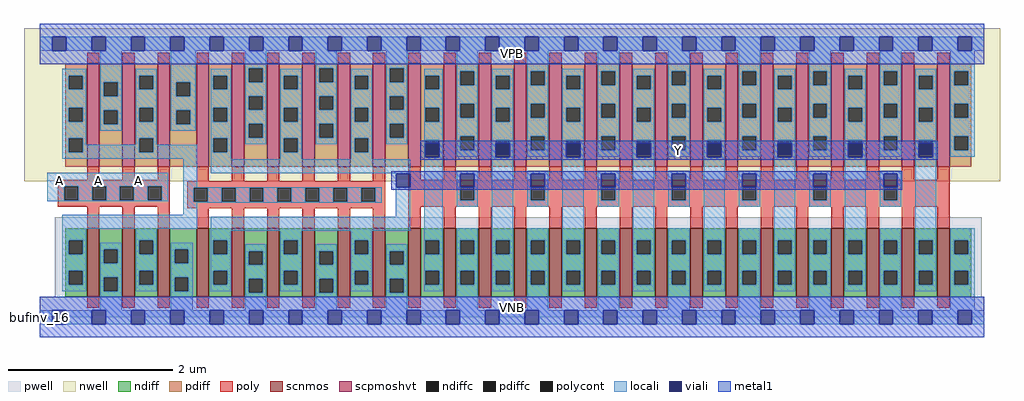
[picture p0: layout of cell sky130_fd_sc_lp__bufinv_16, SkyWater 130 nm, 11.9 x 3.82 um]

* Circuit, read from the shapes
.subckt sky130_fd_sc_lp__bufinv_16 A VGND VNB VPB VPWR Y
XM1 VGND A n1 VNB sky130_fd_pr__nfet_01v8 w=0.84 l=0.15 m=3
XM2 n2 n1 VGND VNB sky130_fd_pr__nfet_01v8 w=0.84 l=0.15 m=6
XM3 Y n2 VGND VNB sky130_fd_pr__nfet_01v8 w=0.84 l=0.15 m=16
XM4 VPWR A n1 VPB sky130_fd_pr__pfet_01v8_hvt w=1.26 l=0.15 m=3
XM5 n2 n1 VPWR VPB sky130_fd_pr__pfet_01v8_hvt w=1.26 l=0.15 m=6
XM6 Y n2 VPWR VPB sky130_fd_pr__pfet_01v8_hvt w=1.26 l=0.15 m=16
.ends

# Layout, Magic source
magic
tech sky130A
magscale 1 2
<< nwell >>
rect -38 331 2342 704
<< pwell >>
rect 37 49 2298 243
rect 0 0 2304 49
<< scnmos >>
rect 116 49 146 217
rect 202 49 232 217
rect 288 49 318 217
rect 383 49 413 217
rect 469 49 499 217
rect 555 49 585 217
rect 641 49 671 217
rect 727 49 757 217
rect 813 49 843 217
rect 899 49 929 217
rect 985 49 1015 217
rect 1071 49 1101 217
rect 1157 49 1187 217
rect 1243 49 1273 217
rect 1329 49 1359 217
rect 1415 49 1445 217
rect 1501 49 1531 217
rect 1587 49 1617 217
rect 1673 49 1703 217
rect 1759 49 1789 217
rect 1845 49 1875 217
rect 1931 49 1961 217
rect 2017 49 2047 217
rect 2103 49 2133 217
rect 2189 49 2219 217
<< scpmoshvt >>
rect 116 367 146 619
rect 202 367 232 619
rect 288 367 318 619
rect 383 367 413 619
rect 469 367 499 619
rect 555 367 585 619
rect 641 367 671 619
rect 727 367 757 619
rect 813 367 843 619
rect 899 367 929 619
rect 985 367 1015 619
rect 1071 367 1101 619
rect 1157 367 1187 619
rect 1243 367 1273 619
rect 1329 367 1359 619
rect 1415 367 1445 619
rect 1501 367 1531 619
rect 1587 367 1617 619
rect 1673 367 1703 619
rect 1759 367 1789 619
rect 1845 367 1875 619
rect 1931 367 1961 619
rect 2017 367 2047 619
rect 2103 367 2133 619
rect 2189 367 2219 619
<< ndiff >>
rect 63 187 116 217
rect 63 153 71 187
rect 105 153 116 187
rect 63 113 116 153
rect 63 79 71 113
rect 105 79 116 113
rect 63 49 116 79
rect 146 165 202 217
rect 146 131 157 165
rect 191 131 202 165
rect 146 97 202 131
rect 146 63 157 97
rect 191 63 202 97
rect 146 49 202 63
rect 232 187 288 217
rect 232 153 243 187
rect 277 153 288 187
rect 232 113 288 153
rect 232 79 243 113
rect 277 79 288 113
rect 232 49 288 79
rect 318 165 383 217
rect 318 131 329 165
rect 363 131 383 165
rect 318 97 383 131
rect 318 63 329 97
rect 363 63 383 97
rect 318 49 383 63
rect 413 187 469 217
rect 413 153 424 187
rect 458 153 469 187
rect 413 113 469 153
rect 413 79 424 113
rect 458 79 469 113
rect 413 49 469 79
rect 499 161 555 217
rect 499 127 510 161
rect 544 127 555 161
rect 499 93 555 127
rect 499 59 510 93
rect 544 59 555 93
rect 499 49 555 59
rect 585 187 641 217
rect 585 153 596 187
rect 630 153 641 187
rect 585 113 641 153
rect 585 79 596 113
rect 630 79 641 113
rect 585 49 641 79
rect 671 161 727 217
rect 671 127 682 161
rect 716 127 727 161
rect 671 93 727 127
rect 671 59 682 93
rect 716 59 727 93
rect 671 49 727 59
rect 757 187 813 217
rect 757 153 768 187
rect 802 153 813 187
rect 757 113 813 153
rect 757 79 768 113
rect 802 79 813 113
rect 757 49 813 79
rect 843 161 899 217
rect 843 127 854 161
rect 888 127 899 161
rect 843 93 899 127
rect 843 59 854 93
rect 888 59 899 93
rect 843 49 899 59
rect 929 187 985 217
rect 929 153 940 187
rect 974 153 985 187
rect 929 113 985 153
rect 929 79 940 113
rect 974 79 985 113
rect 929 49 985 79
rect 1015 187 1071 217
rect 1015 153 1026 187
rect 1060 153 1071 187
rect 1015 113 1071 153
rect 1015 79 1026 113
rect 1060 79 1071 113
rect 1015 49 1071 79
rect 1101 187 1157 217
rect 1101 153 1112 187
rect 1146 153 1157 187
rect 1101 113 1157 153
rect 1101 79 1112 113
rect 1146 79 1157 113
rect 1101 49 1157 79
rect 1187 187 1243 217
rect 1187 153 1198 187
rect 1232 153 1243 187
rect 1187 113 1243 153
rect 1187 79 1198 113
rect 1232 79 1243 113
rect 1187 49 1243 79
rect 1273 187 1329 217
rect 1273 153 1284 187
rect 1318 153 1329 187
rect 1273 113 1329 153
rect 1273 79 1284 113
rect 1318 79 1329 113
rect 1273 49 1329 79
rect 1359 187 1415 217
rect 1359 153 1370 187
rect 1404 153 1415 187
rect 1359 113 1415 153
rect 1359 79 1370 113
rect 1404 79 1415 113
rect 1359 49 1415 79
rect 1445 187 1501 217
rect 1445 153 1456 187
rect 1490 153 1501 187
rect 1445 113 1501 153
rect 1445 79 1456 113
rect 1490 79 1501 113
rect 1445 49 1501 79
rect 1531 187 1587 217
rect 1531 153 1542 187
rect 1576 153 1587 187
rect 1531 113 1587 153
rect 1531 79 1542 113
rect 1576 79 1587 113
rect 1531 49 1587 79
rect 1617 187 1673 217
rect 1617 153 1628 187
rect 1662 153 1673 187
rect 1617 113 1673 153
rect 1617 79 1628 113
rect 1662 79 1673 113
rect 1617 49 1673 79
rect 1703 187 1759 217
rect 1703 153 1714 187
rect 1748 153 1759 187
rect 1703 113 1759 153
rect 1703 79 1714 113
rect 1748 79 1759 113
rect 1703 49 1759 79
rect 1789 187 1845 217
rect 1789 153 1800 187
rect 1834 153 1845 187
rect 1789 113 1845 153
rect 1789 79 1800 113
rect 1834 79 1845 113
rect 1789 49 1845 79
rect 1875 187 1931 217
rect 1875 153 1886 187
rect 1920 153 1931 187
rect 1875 113 1931 153
rect 1875 79 1886 113
rect 1920 79 1931 113
rect 1875 49 1931 79
rect 1961 187 2017 217
rect 1961 153 1972 187
rect 2006 153 2017 187
rect 1961 113 2017 153
rect 1961 79 1972 113
rect 2006 79 2017 113
rect 1961 49 2017 79
rect 2047 187 2103 217
rect 2047 153 2058 187
rect 2092 153 2103 187
rect 2047 113 2103 153
rect 2047 79 2058 113
rect 2092 79 2103 113
rect 2047 49 2103 79
rect 2133 187 2189 217
rect 2133 153 2144 187
rect 2178 153 2189 187
rect 2133 113 2189 153
rect 2133 79 2144 113
rect 2178 79 2189 113
rect 2133 49 2189 79
rect 2219 187 2272 217
rect 2219 153 2230 187
rect 2264 153 2272 187
rect 2219 113 2272 153
rect 2219 79 2230 113
rect 2264 79 2272 113
rect 2219 49 2272 79
<< pdiff >>
rect 63 589 116 619
rect 63 555 71 589
rect 105 555 116 589
rect 63 510 116 555
rect 63 476 71 510
rect 105 476 116 510
rect 63 436 116 476
rect 63 402 71 436
rect 105 402 116 436
rect 63 367 116 402
rect 146 572 202 619
rect 146 538 157 572
rect 191 538 202 572
rect 146 504 202 538
rect 146 470 157 504
rect 191 470 202 504
rect 146 367 202 470
rect 232 589 288 619
rect 232 555 243 589
rect 277 555 288 589
rect 232 510 288 555
rect 232 476 243 510
rect 277 476 288 510
rect 232 436 288 476
rect 232 402 243 436
rect 277 402 288 436
rect 232 367 288 402
rect 318 572 383 619
rect 318 538 333 572
rect 367 538 383 572
rect 318 504 383 538
rect 318 470 333 504
rect 367 470 383 504
rect 318 367 383 470
rect 413 589 469 619
rect 413 555 424 589
rect 458 555 469 589
rect 413 510 469 555
rect 413 476 424 510
rect 458 476 469 510
rect 413 436 469 476
rect 413 402 424 436
rect 458 402 469 436
rect 413 367 469 402
rect 499 607 555 619
rect 499 573 510 607
rect 544 573 555 607
rect 499 539 555 573
rect 499 505 510 539
rect 544 505 555 539
rect 499 471 555 505
rect 499 437 510 471
rect 544 437 555 471
rect 499 367 555 437
rect 585 589 641 619
rect 585 555 596 589
rect 630 555 641 589
rect 585 510 641 555
rect 585 476 596 510
rect 630 476 641 510
rect 585 436 641 476
rect 585 402 596 436
rect 630 402 641 436
rect 585 367 641 402
rect 671 607 727 619
rect 671 573 682 607
rect 716 573 727 607
rect 671 539 727 573
rect 671 505 682 539
rect 716 505 727 539
rect 671 471 727 505
rect 671 437 682 471
rect 716 437 727 471
rect 671 367 727 437
rect 757 589 813 619
rect 757 555 768 589
rect 802 555 813 589
rect 757 510 813 555
rect 757 476 768 510
rect 802 476 813 510
rect 757 436 813 476
rect 757 402 768 436
rect 802 402 813 436
rect 757 367 813 402
rect 843 607 899 619
rect 843 573 854 607
rect 888 573 899 607
rect 843 539 899 573
rect 843 505 854 539
rect 888 505 899 539
rect 843 471 899 505
rect 843 437 854 471
rect 888 437 899 471
rect 843 367 899 437
rect 929 589 985 619
rect 929 555 940 589
rect 974 555 985 589
rect 929 510 985 555
rect 929 476 940 510
rect 974 476 985 510
rect 929 431 985 476
rect 929 397 940 431
rect 974 397 985 431
rect 929 367 985 397
rect 1015 599 1071 619
rect 1015 565 1026 599
rect 1060 565 1071 599
rect 1015 520 1071 565
rect 1015 486 1026 520
rect 1060 486 1071 520
rect 1015 441 1071 486
rect 1015 407 1026 441
rect 1060 407 1071 441
rect 1015 367 1071 407
rect 1101 589 1157 619
rect 1101 555 1112 589
rect 1146 555 1157 589
rect 1101 510 1157 555
rect 1101 476 1112 510
rect 1146 476 1157 510
rect 1101 431 1157 476
rect 1101 397 1112 431
rect 1146 397 1157 431
rect 1101 367 1157 397
rect 1187 599 1243 619
rect 1187 565 1198 599
rect 1232 565 1243 599
rect 1187 520 1243 565
rect 1187 486 1198 520
rect 1232 486 1243 520
rect 1187 441 1243 486
rect 1187 407 1198 441
rect 1232 407 1243 441
rect 1187 367 1243 407
rect 1273 589 1329 619
rect 1273 555 1284 589
rect 1318 555 1329 589
rect 1273 510 1329 555
rect 1273 476 1284 510
rect 1318 476 1329 510
rect 1273 431 1329 476
rect 1273 397 1284 431
rect 1318 397 1329 431
rect 1273 367 1329 397
rect 1359 599 1415 619
rect 1359 565 1370 599
rect 1404 565 1415 599
rect 1359 520 1415 565
rect 1359 486 1370 520
rect 1404 486 1415 520
rect 1359 441 1415 486
rect 1359 407 1370 441
rect 1404 407 1415 441
rect 1359 367 1415 407
rect 1445 589 1501 619
rect 1445 555 1456 589
rect 1490 555 1501 589
rect 1445 510 1501 555
rect 1445 476 1456 510
rect 1490 476 1501 510
rect 1445 431 1501 476
rect 1445 397 1456 431
rect 1490 397 1501 431
rect 1445 367 1501 397
rect 1531 599 1587 619
rect 1531 565 1542 599
rect 1576 565 1587 599
rect 1531 520 1587 565
rect 1531 486 1542 520
rect 1576 486 1587 520
rect 1531 441 1587 486
rect 1531 407 1542 441
rect 1576 407 1587 441
rect 1531 367 1587 407
rect 1617 589 1673 619
rect 1617 555 1628 589
rect 1662 555 1673 589
rect 1617 510 1673 555
rect 1617 476 1628 510
rect 1662 476 1673 510
rect 1617 431 1673 476
rect 1617 397 1628 431
rect 1662 397 1673 431
rect 1617 367 1673 397
rect 1703 599 1759 619
rect 1703 565 1714 599
rect 1748 565 1759 599
rect 1703 520 1759 565
rect 1703 486 1714 520
rect 1748 486 1759 520
rect 1703 441 1759 486
rect 1703 407 1714 441
rect 1748 407 1759 441
rect 1703 367 1759 407
rect 1789 589 1845 619
rect 1789 555 1800 589
rect 1834 555 1845 589
rect 1789 510 1845 555
rect 1789 476 1800 510
rect 1834 476 1845 510
rect 1789 431 1845 476
rect 1789 397 1800 431
rect 1834 397 1845 431
rect 1789 367 1845 397
rect 1875 599 1931 619
rect 1875 565 1886 599
rect 1920 565 1931 599
rect 1875 520 1931 565
rect 1875 486 1886 520
rect 1920 486 1931 520
rect 1875 441 1931 486
rect 1875 407 1886 441
rect 1920 407 1931 441
rect 1875 367 1931 407
rect 1961 589 2017 619
rect 1961 555 1972 589
rect 2006 555 2017 589
rect 1961 510 2017 555
rect 1961 476 1972 510
rect 2006 476 2017 510
rect 1961 431 2017 476
rect 1961 397 1972 431
rect 2006 397 2017 431
rect 1961 367 2017 397
rect 2047 599 2103 619
rect 2047 565 2058 599
rect 2092 565 2103 599
rect 2047 520 2103 565
rect 2047 486 2058 520
rect 2092 486 2103 520
rect 2047 441 2103 486
rect 2047 407 2058 441
rect 2092 407 2103 441
rect 2047 367 2103 407
rect 2133 589 2189 619
rect 2133 555 2144 589
rect 2178 555 2189 589
rect 2133 510 2189 555
rect 2133 476 2144 510
rect 2178 476 2189 510
rect 2133 431 2189 476
rect 2133 397 2144 431
rect 2178 397 2189 431
rect 2133 367 2189 397
rect 2219 599 2272 619
rect 2219 565 2230 599
rect 2264 565 2272 599
rect 2219 520 2272 565
rect 2219 486 2230 520
rect 2264 486 2272 520
rect 2219 441 2272 486
rect 2219 407 2230 441
rect 2264 407 2272 441
rect 2219 367 2272 407
<< ndiffc >>
rect 71 153 105 187
rect 71 79 105 113
rect 157 131 191 165
rect 157 63 191 97
rect 243 153 277 187
rect 243 79 277 113
rect 329 131 363 165
rect 329 63 363 97
rect 424 153 458 187
rect 424 79 458 113
rect 510 127 544 161
rect 510 59 544 93
rect 596 153 630 187
rect 596 79 630 113
rect 682 127 716 161
rect 682 59 716 93
rect 768 153 802 187
rect 768 79 802 113
rect 854 127 888 161
rect 854 59 888 93
rect 940 153 974 187
rect 940 79 974 113
rect 1026 153 1060 187
rect 1026 79 1060 113
rect 1112 153 1146 187
rect 1112 79 1146 113
rect 1198 153 1232 187
rect 1198 79 1232 113
rect 1284 153 1318 187
rect 1284 79 1318 113
rect 1370 153 1404 187
rect 1370 79 1404 113
rect 1456 153 1490 187
rect 1456 79 1490 113
rect 1542 153 1576 187
rect 1542 79 1576 113
rect 1628 153 1662 187
rect 1628 79 1662 113
rect 1714 153 1748 187
rect 1714 79 1748 113
rect 1800 153 1834 187
rect 1800 79 1834 113
rect 1886 153 1920 187
rect 1886 79 1920 113
rect 1972 153 2006 187
rect 1972 79 2006 113
rect 2058 153 2092 187
rect 2058 79 2092 113
rect 2144 153 2178 187
rect 2144 79 2178 113
rect 2230 153 2264 187
rect 2230 79 2264 113
<< pdiffc >>
rect 71 555 105 589
rect 71 476 105 510
rect 71 402 105 436
rect 157 538 191 572
rect 157 470 191 504
rect 243 555 277 589
rect 243 476 277 510
rect 243 402 277 436
rect 333 538 367 572
rect 333 470 367 504
rect 424 555 458 589
rect 424 476 458 510
rect 424 402 458 436
rect 510 573 544 607
rect 510 505 544 539
rect 510 437 544 471
rect 596 555 630 589
rect 596 476 630 510
rect 596 402 630 436
rect 682 573 716 607
rect 682 505 716 539
rect 682 437 716 471
rect 768 555 802 589
rect 768 476 802 510
rect 768 402 802 436
rect 854 573 888 607
rect 854 505 888 539
rect 854 437 888 471
rect 940 555 974 589
rect 940 476 974 510
rect 940 397 974 431
rect 1026 565 1060 599
rect 1026 486 1060 520
rect 1026 407 1060 441
rect 1112 555 1146 589
rect 1112 476 1146 510
rect 1112 397 1146 431
rect 1198 565 1232 599
rect 1198 486 1232 520
rect 1198 407 1232 441
rect 1284 555 1318 589
rect 1284 476 1318 510
rect 1284 397 1318 431
rect 1370 565 1404 599
rect 1370 486 1404 520
rect 1370 407 1404 441
rect 1456 555 1490 589
rect 1456 476 1490 510
rect 1456 397 1490 431
rect 1542 565 1576 599
rect 1542 486 1576 520
rect 1542 407 1576 441
rect 1628 555 1662 589
rect 1628 476 1662 510
rect 1628 397 1662 431
rect 1714 565 1748 599
rect 1714 486 1748 520
rect 1714 407 1748 441
rect 1800 555 1834 589
rect 1800 476 1834 510
rect 1800 397 1834 431
rect 1886 565 1920 599
rect 1886 486 1920 520
rect 1886 407 1920 441
rect 1972 555 2006 589
rect 1972 476 2006 510
rect 1972 397 2006 431
rect 2058 565 2092 599
rect 2058 486 2092 520
rect 2058 407 2092 441
rect 2144 555 2178 589
rect 2144 476 2178 510
rect 2144 397 2178 431
rect 2230 565 2264 599
rect 2230 486 2264 520
rect 2230 407 2264 441
<< poly >>
rect 116 619 146 645
rect 202 619 232 645
rect 288 619 318 645
rect 383 619 413 645
rect 469 619 499 645
rect 555 619 585 645
rect 641 619 671 645
rect 727 619 757 645
rect 813 619 843 645
rect 899 619 929 645
rect 985 619 1015 645
rect 1071 619 1101 645
rect 1157 619 1187 645
rect 1243 619 1273 645
rect 1329 619 1359 645
rect 1415 619 1445 645
rect 1501 619 1531 645
rect 1587 619 1617 645
rect 1673 619 1703 645
rect 1759 619 1789 645
rect 1845 619 1875 645
rect 1931 619 1961 645
rect 2017 619 2047 645
rect 2103 619 2133 645
rect 2189 619 2219 645
rect 116 335 146 367
rect 202 335 232 367
rect 288 335 318 367
rect 44 319 318 335
rect 383 331 413 367
rect 469 331 499 367
rect 555 331 585 367
rect 641 331 671 367
rect 727 331 757 367
rect 813 331 843 367
rect 44 285 60 319
rect 94 285 128 319
rect 162 285 196 319
rect 230 285 264 319
rect 298 285 318 319
rect 44 269 318 285
rect 116 217 146 269
rect 202 217 232 269
rect 288 217 318 269
rect 360 315 843 331
rect 360 281 376 315
rect 410 281 444 315
rect 478 281 512 315
rect 546 281 580 315
rect 614 281 648 315
rect 682 281 716 315
rect 750 281 784 315
rect 818 281 843 315
rect 360 265 843 281
rect 383 217 413 265
rect 469 217 499 265
rect 555 217 585 265
rect 641 217 671 265
rect 727 217 757 265
rect 813 217 843 265
rect 899 335 929 367
rect 985 335 1015 367
rect 1071 335 1101 367
rect 1157 335 1187 367
rect 1243 335 1273 367
rect 1329 335 1359 367
rect 1415 335 1445 367
rect 1501 335 1531 367
rect 1587 335 1617 367
rect 1673 335 1703 367
rect 1759 335 1789 367
rect 1845 335 1875 367
rect 1931 335 1961 367
rect 2017 335 2047 367
rect 2103 335 2133 367
rect 2189 335 2219 367
rect 899 319 2219 335
rect 899 285 1026 319
rect 1060 285 1198 319
rect 1232 285 1370 319
rect 1404 285 1542 319
rect 1576 285 1714 319
rect 1748 285 1886 319
rect 1920 285 2058 319
rect 2092 285 2219 319
rect 899 269 2219 285
rect 899 217 929 269
rect 985 217 1015 269
rect 1071 217 1101 269
rect 1157 217 1187 269
rect 1243 217 1273 269
rect 1329 217 1359 269
rect 1415 217 1445 269
rect 1501 217 1531 269
rect 1587 217 1617 269
rect 1673 217 1703 269
rect 1759 217 1789 269
rect 1845 217 1875 269
rect 1931 217 1961 269
rect 2017 217 2047 269
rect 2103 217 2133 269
rect 2189 217 2219 269
rect 116 23 146 49
rect 202 23 232 49
rect 288 23 318 49
rect 383 23 413 49
rect 469 23 499 49
rect 555 23 585 49
rect 641 23 671 49
rect 727 23 757 49
rect 813 23 843 49
rect 899 23 929 49
rect 985 23 1015 49
rect 1071 23 1101 49
rect 1157 23 1187 49
rect 1243 23 1273 49
rect 1329 23 1359 49
rect 1415 23 1445 49
rect 1501 23 1531 49
rect 1587 23 1617 49
rect 1673 23 1703 49
rect 1759 23 1789 49
rect 1845 23 1875 49
rect 1931 23 1961 49
rect 2017 23 2047 49
rect 2103 23 2133 49
rect 2189 23 2219 49
<< polycont >>
rect 60 285 94 319
rect 128 285 162 319
rect 196 285 230 319
rect 264 285 298 319
rect 376 281 410 315
rect 444 281 478 315
rect 512 281 546 315
rect 580 281 614 315
rect 648 281 682 315
rect 716 281 750 315
rect 784 281 818 315
rect 1026 285 1060 319
rect 1198 285 1232 319
rect 1370 285 1404 319
rect 1542 285 1576 319
rect 1714 285 1748 319
rect 1886 285 1920 319
rect 2058 285 2092 319
<< locali >>
rect 0 649 31 683
rect 65 649 127 683
rect 161 649 223 683
rect 257 649 319 683
rect 353 649 415 683
rect 449 649 511 683
rect 545 649 607 683
rect 641 649 703 683
rect 737 649 799 683
rect 833 649 895 683
rect 929 649 991 683
rect 1025 649 1087 683
rect 1121 649 1183 683
rect 1217 649 1279 683
rect 1313 649 1375 683
rect 1409 649 1471 683
rect 1505 649 1567 683
rect 1601 649 1663 683
rect 1697 649 1759 683
rect 1793 649 1855 683
rect 1889 649 1951 683
rect 1985 649 2047 683
rect 2081 649 2143 683
rect 2177 649 2239 683
rect 2273 649 2304 683
rect 55 589 114 605
rect 55 555 71 589
rect 105 555 114 589
rect 55 510 114 555
rect 55 476 71 510
rect 105 476 114 510
rect 55 436 114 476
rect 148 572 200 649
rect 148 538 157 572
rect 191 538 200 572
rect 148 504 200 538
rect 148 470 157 504
rect 191 470 200 504
rect 148 454 200 470
rect 234 589 286 605
rect 234 555 243 589
rect 277 555 286 589
rect 234 510 286 555
rect 234 476 243 510
rect 277 476 286 510
rect 55 402 71 436
rect 105 420 114 436
rect 234 436 286 476
rect 320 572 381 649
rect 501 607 553 649
rect 320 538 333 572
rect 367 538 381 572
rect 320 504 381 538
rect 320 470 333 504
rect 367 470 381 504
rect 320 454 381 470
rect 418 589 467 605
rect 418 555 424 589
rect 458 555 467 589
rect 418 510 467 555
rect 418 476 424 510
rect 458 476 467 510
rect 234 420 243 436
rect 105 402 243 420
rect 277 420 286 436
rect 418 436 467 476
rect 277 402 384 420
rect 55 386 384 402
rect 19 319 314 352
rect 19 285 60 319
rect 94 285 128 319
rect 162 285 196 319
rect 230 285 264 319
rect 298 285 314 319
rect 19 283 314 285
rect 350 317 384 386
rect 418 402 424 436
rect 458 402 467 436
rect 501 573 510 607
rect 544 573 553 607
rect 673 607 725 649
rect 501 539 553 573
rect 501 505 510 539
rect 544 505 553 539
rect 501 471 553 505
rect 501 437 510 471
rect 544 437 553 471
rect 501 421 553 437
rect 587 589 639 605
rect 587 555 596 589
rect 630 555 639 589
rect 587 510 639 555
rect 587 476 596 510
rect 630 476 639 510
rect 587 436 639 476
rect 418 385 467 402
rect 587 402 596 436
rect 630 402 639 436
rect 673 573 682 607
rect 716 573 725 607
rect 845 607 897 649
rect 673 539 725 573
rect 673 505 682 539
rect 716 505 725 539
rect 673 471 725 505
rect 673 437 682 471
rect 716 437 725 471
rect 673 421 725 437
rect 759 589 811 605
rect 759 555 768 589
rect 802 555 811 589
rect 759 510 811 555
rect 759 476 768 510
rect 802 476 811 510
rect 759 436 811 476
rect 587 385 639 402
rect 759 402 768 436
rect 802 402 811 436
rect 845 573 854 607
rect 888 573 897 607
rect 845 539 897 573
rect 845 505 854 539
rect 888 505 897 539
rect 845 471 897 505
rect 845 437 854 471
rect 888 437 897 471
rect 845 421 897 437
rect 938 589 983 605
rect 938 555 940 589
rect 974 555 983 589
rect 938 510 983 555
rect 938 476 940 510
rect 974 476 983 510
rect 938 431 983 476
rect 759 385 811 402
rect 938 390 940 431
rect 974 390 983 431
rect 1017 599 1069 649
rect 1017 565 1026 599
rect 1060 565 1069 599
rect 1017 520 1069 565
rect 1017 486 1026 520
rect 1060 486 1069 520
rect 1017 441 1069 486
rect 1017 407 1026 441
rect 1060 407 1069 441
rect 1017 391 1069 407
rect 1103 589 1155 605
rect 1103 555 1112 589
rect 1146 555 1155 589
rect 1103 510 1155 555
rect 1103 476 1112 510
rect 1146 476 1155 510
rect 1103 431 1155 476
rect 418 351 904 385
rect 868 350 904 351
rect 350 315 834 317
rect 350 281 376 315
rect 410 281 444 315
rect 478 281 512 315
rect 546 281 580 315
rect 614 281 648 315
rect 682 281 716 315
rect 750 281 784 315
rect 818 281 834 315
rect 350 279 834 281
rect 868 316 870 350
rect 350 249 384 279
rect 55 215 384 249
rect 868 245 904 316
rect 55 187 114 215
rect 55 153 71 187
rect 105 153 114 187
rect 234 187 286 215
rect 55 113 114 153
rect 55 79 71 113
rect 105 79 114 113
rect 55 63 114 79
rect 148 165 200 181
rect 148 131 157 165
rect 191 131 200 165
rect 148 97 200 131
rect 148 63 157 97
rect 191 63 200 97
rect 234 153 243 187
rect 277 153 286 187
rect 418 211 904 245
rect 418 187 467 211
rect 234 113 286 153
rect 234 79 243 113
rect 277 79 286 113
rect 234 63 286 79
rect 320 165 374 181
rect 320 131 329 165
rect 363 131 374 165
rect 320 97 374 131
rect 320 63 329 97
rect 363 63 374 97
rect 418 153 424 187
rect 458 153 467 187
rect 587 187 639 211
rect 418 113 467 153
rect 418 79 424 113
rect 458 79 467 113
rect 418 63 467 79
rect 501 161 553 177
rect 501 127 510 161
rect 544 127 553 161
rect 501 93 553 127
rect 148 17 200 63
rect 320 17 374 63
rect 501 59 510 93
rect 544 59 553 93
rect 587 153 596 187
rect 630 153 639 187
rect 759 187 811 211
rect 587 113 639 153
rect 587 79 596 113
rect 630 79 639 113
rect 587 63 639 79
rect 673 161 725 177
rect 673 127 682 161
rect 716 127 725 161
rect 673 93 725 127
rect 501 17 553 59
rect 673 59 682 93
rect 716 59 725 93
rect 759 153 768 187
rect 802 153 811 187
rect 938 187 983 390
rect 1103 390 1112 431
rect 1146 390 1155 431
rect 1189 599 1241 649
rect 1189 565 1198 599
rect 1232 565 1241 599
rect 1189 520 1241 565
rect 1189 486 1198 520
rect 1232 486 1241 520
rect 1189 441 1241 486
rect 1189 407 1198 441
rect 1232 407 1241 441
rect 1189 391 1241 407
rect 1275 589 1327 605
rect 1275 555 1284 589
rect 1318 555 1327 589
rect 1275 510 1327 555
rect 1275 476 1284 510
rect 1318 476 1327 510
rect 1275 431 1327 476
rect 1017 350 1069 357
rect 1017 285 1026 350
rect 1060 285 1069 350
rect 1017 269 1069 285
rect 759 113 811 153
rect 759 79 768 113
rect 802 79 811 113
rect 759 63 811 79
rect 845 161 897 177
rect 845 127 854 161
rect 888 127 897 161
rect 845 93 897 127
rect 673 17 725 59
rect 845 59 854 93
rect 888 59 897 93
rect 938 153 940 187
rect 974 153 983 187
rect 938 113 983 153
rect 938 79 940 113
rect 974 79 983 113
rect 938 63 983 79
rect 1017 187 1069 216
rect 1017 153 1026 187
rect 1060 153 1069 187
rect 1017 113 1069 153
rect 1017 79 1026 113
rect 1060 79 1069 113
rect 845 17 897 59
rect 1017 17 1069 79
rect 1103 187 1155 390
rect 1275 390 1284 431
rect 1318 390 1327 431
rect 1361 599 1413 649
rect 1361 565 1370 599
rect 1404 565 1413 599
rect 1361 520 1413 565
rect 1361 486 1370 520
rect 1404 486 1413 520
rect 1361 441 1413 486
rect 1361 407 1370 441
rect 1404 407 1413 441
rect 1361 391 1413 407
rect 1447 589 1499 605
rect 1447 555 1456 589
rect 1490 555 1499 589
rect 1447 510 1499 555
rect 1447 476 1456 510
rect 1490 476 1499 510
rect 1447 431 1499 476
rect 1189 350 1241 357
rect 1189 285 1198 350
rect 1232 285 1241 350
rect 1189 269 1241 285
rect 1103 153 1112 187
rect 1146 153 1155 187
rect 1103 113 1155 153
rect 1103 79 1112 113
rect 1146 79 1155 113
rect 1103 63 1155 79
rect 1189 187 1241 216
rect 1189 153 1198 187
rect 1232 153 1241 187
rect 1189 113 1241 153
rect 1189 79 1198 113
rect 1232 79 1241 113
rect 1189 17 1241 79
rect 1275 187 1327 390
rect 1447 390 1456 431
rect 1490 390 1499 431
rect 1533 599 1585 649
rect 1533 565 1542 599
rect 1576 565 1585 599
rect 1533 520 1585 565
rect 1533 486 1542 520
rect 1576 486 1585 520
rect 1533 441 1585 486
rect 1533 407 1542 441
rect 1576 407 1585 441
rect 1533 391 1585 407
rect 1619 589 1671 605
rect 1619 555 1628 589
rect 1662 555 1671 589
rect 1619 510 1671 555
rect 1619 476 1628 510
rect 1662 476 1671 510
rect 1619 431 1671 476
rect 1361 350 1413 357
rect 1361 285 1370 350
rect 1404 285 1413 350
rect 1361 269 1413 285
rect 1275 153 1284 187
rect 1318 153 1327 187
rect 1275 113 1327 153
rect 1275 79 1284 113
rect 1318 79 1327 113
rect 1275 63 1327 79
rect 1361 187 1413 216
rect 1361 153 1370 187
rect 1404 153 1413 187
rect 1361 113 1413 153
rect 1361 79 1370 113
rect 1404 79 1413 113
rect 1361 17 1413 79
rect 1447 187 1499 390
rect 1619 390 1628 431
rect 1662 390 1671 431
rect 1705 599 1757 649
rect 1705 565 1714 599
rect 1748 565 1757 599
rect 1705 520 1757 565
rect 1705 486 1714 520
rect 1748 486 1757 520
rect 1705 441 1757 486
rect 1705 407 1714 441
rect 1748 407 1757 441
rect 1705 391 1757 407
rect 1791 589 1843 605
rect 1791 555 1800 589
rect 1834 555 1843 589
rect 1791 510 1843 555
rect 1791 476 1800 510
rect 1834 476 1843 510
rect 1791 431 1843 476
rect 1533 350 1585 357
rect 1533 285 1542 350
rect 1576 285 1585 350
rect 1533 269 1585 285
rect 1447 153 1456 187
rect 1490 153 1499 187
rect 1447 113 1499 153
rect 1447 79 1456 113
rect 1490 79 1499 113
rect 1447 63 1499 79
rect 1533 187 1585 216
rect 1533 153 1542 187
rect 1576 153 1585 187
rect 1533 113 1585 153
rect 1533 79 1542 113
rect 1576 79 1585 113
rect 1533 17 1585 79
rect 1619 187 1671 390
rect 1791 390 1800 431
rect 1834 390 1843 431
rect 1877 599 1929 649
rect 1877 565 1886 599
rect 1920 565 1929 599
rect 1877 520 1929 565
rect 1877 486 1886 520
rect 1920 486 1929 520
rect 1877 441 1929 486
rect 1877 407 1886 441
rect 1920 407 1929 441
rect 1877 391 1929 407
rect 1963 589 2015 605
rect 1963 555 1972 589
rect 2006 555 2015 589
rect 1963 510 2015 555
rect 1963 476 1972 510
rect 2006 476 2015 510
rect 1963 431 2015 476
rect 1705 350 1757 357
rect 1705 285 1714 350
rect 1748 285 1757 350
rect 1705 269 1757 285
rect 1619 153 1628 187
rect 1662 153 1671 187
rect 1619 113 1671 153
rect 1619 79 1628 113
rect 1662 79 1671 113
rect 1619 63 1671 79
rect 1705 187 1757 216
rect 1705 153 1714 187
rect 1748 153 1757 187
rect 1705 113 1757 153
rect 1705 79 1714 113
rect 1748 79 1757 113
rect 1705 17 1757 79
rect 1791 187 1843 390
rect 1963 390 1972 431
rect 2006 390 2015 431
rect 2049 599 2101 649
rect 2049 565 2058 599
rect 2092 565 2101 599
rect 2049 520 2101 565
rect 2049 486 2058 520
rect 2092 486 2101 520
rect 2049 441 2101 486
rect 2049 407 2058 441
rect 2092 407 2101 441
rect 2049 391 2101 407
rect 2135 589 2187 605
rect 2135 555 2144 589
rect 2178 555 2187 589
rect 2135 510 2187 555
rect 2135 476 2144 510
rect 2178 476 2187 510
rect 2135 431 2187 476
rect 1877 350 1929 357
rect 1877 285 1886 350
rect 1920 285 1929 350
rect 1877 269 1929 285
rect 1791 153 1800 187
rect 1834 153 1843 187
rect 1791 113 1843 153
rect 1791 79 1800 113
rect 1834 79 1843 113
rect 1791 63 1843 79
rect 1877 187 1929 216
rect 1877 153 1886 187
rect 1920 153 1929 187
rect 1877 113 1929 153
rect 1877 79 1886 113
rect 1920 79 1929 113
rect 1877 17 1929 79
rect 1963 187 2015 390
rect 2135 390 2144 431
rect 2178 390 2187 431
rect 2221 599 2280 649
rect 2221 565 2230 599
rect 2264 565 2280 599
rect 2221 520 2280 565
rect 2221 486 2230 520
rect 2264 486 2280 520
rect 2221 441 2280 486
rect 2221 407 2230 441
rect 2264 407 2280 441
rect 2221 391 2280 407
rect 2049 350 2101 357
rect 2049 285 2058 350
rect 2092 285 2101 350
rect 2049 269 2101 285
rect 1963 153 1972 187
rect 2006 153 2015 187
rect 1963 113 2015 153
rect 1963 79 1972 113
rect 2006 79 2015 113
rect 1963 63 2015 79
rect 2049 187 2101 216
rect 2049 153 2058 187
rect 2092 153 2101 187
rect 2049 113 2101 153
rect 2049 79 2058 113
rect 2092 79 2101 113
rect 2049 17 2101 79
rect 2135 187 2187 390
rect 2135 153 2144 187
rect 2178 153 2187 187
rect 2135 113 2187 153
rect 2135 79 2144 113
rect 2178 79 2187 113
rect 2135 63 2187 79
rect 2221 187 2280 216
rect 2221 153 2230 187
rect 2264 153 2280 187
rect 2221 113 2280 153
rect 2221 79 2230 113
rect 2264 79 2280 113
rect 2221 17 2280 79
rect 0 -17 31 17
rect 65 -17 127 17
rect 161 -17 223 17
rect 257 -17 319 17
rect 353 -17 415 17
rect 449 -17 511 17
rect 545 -17 607 17
rect 641 -17 703 17
rect 737 -17 799 17
rect 833 -17 895 17
rect 929 -17 991 17
rect 1025 -17 1087 17
rect 1121 -17 1183 17
rect 1217 -17 1279 17
rect 1313 -17 1375 17
rect 1409 -17 1471 17
rect 1505 -17 1567 17
rect 1601 -17 1663 17
rect 1697 -17 1759 17
rect 1793 -17 1855 17
rect 1889 -17 1951 17
rect 1985 -17 2047 17
rect 2081 -17 2143 17
rect 2177 -17 2239 17
rect 2273 -17 2304 17
<< viali >>
rect 31 649 65 683
rect 127 649 161 683
rect 223 649 257 683
rect 319 649 353 683
rect 415 649 449 683
rect 511 649 545 683
rect 607 649 641 683
rect 703 649 737 683
rect 799 649 833 683
rect 895 649 929 683
rect 991 649 1025 683
rect 1087 649 1121 683
rect 1183 649 1217 683
rect 1279 649 1313 683
rect 1375 649 1409 683
rect 1471 649 1505 683
rect 1567 649 1601 683
rect 1663 649 1697 683
rect 1759 649 1793 683
rect 1855 649 1889 683
rect 1951 649 1985 683
rect 2047 649 2081 683
rect 2143 649 2177 683
rect 2239 649 2273 683
rect 940 397 974 424
rect 940 390 974 397
rect 870 316 904 350
rect 1112 397 1146 424
rect 1112 390 1146 397
rect 1026 319 1060 350
rect 1026 316 1060 319
rect 1284 397 1318 424
rect 1284 390 1318 397
rect 1198 319 1232 350
rect 1198 316 1232 319
rect 1456 397 1490 424
rect 1456 390 1490 397
rect 1370 319 1404 350
rect 1370 316 1404 319
rect 1628 397 1662 424
rect 1628 390 1662 397
rect 1542 319 1576 350
rect 1542 316 1576 319
rect 1800 397 1834 424
rect 1800 390 1834 397
rect 1714 319 1748 350
rect 1714 316 1748 319
rect 1972 397 2006 424
rect 1972 390 2006 397
rect 1886 319 1920 350
rect 1886 316 1920 319
rect 2144 397 2178 424
rect 2144 390 2178 397
rect 2058 319 2092 350
rect 2058 316 2092 319
rect 31 -17 65 17
rect 127 -17 161 17
rect 223 -17 257 17
rect 319 -17 353 17
rect 415 -17 449 17
rect 511 -17 545 17
rect 607 -17 641 17
rect 703 -17 737 17
rect 799 -17 833 17
rect 895 -17 929 17
rect 991 -17 1025 17
rect 1087 -17 1121 17
rect 1183 -17 1217 17
rect 1279 -17 1313 17
rect 1375 -17 1409 17
rect 1471 -17 1505 17
rect 1567 -17 1601 17
rect 1663 -17 1697 17
rect 1759 -17 1793 17
rect 1855 -17 1889 17
rect 1951 -17 1985 17
rect 2047 -17 2081 17
rect 2143 -17 2177 17
rect 2239 -17 2273 17
<< metal1 >>
rect 0 683 2304 715
rect 0 649 31 683
rect 65 649 127 683
rect 161 649 223 683
rect 257 649 319 683
rect 353 649 415 683
rect 449 649 511 683
rect 545 649 607 683
rect 641 649 703 683
rect 737 649 799 683
rect 833 649 895 683
rect 929 649 991 683
rect 1025 649 1087 683
rect 1121 649 1183 683
rect 1217 649 1279 683
rect 1313 649 1375 683
rect 1409 649 1471 683
rect 1505 649 1567 683
rect 1601 649 1663 683
rect 1697 649 1759 683
rect 1793 649 1855 683
rect 1889 649 1951 683
rect 1985 649 2047 683
rect 2081 649 2143 683
rect 2177 649 2239 683
rect 2273 649 2304 683
rect 0 617 2304 649
rect 928 424 2190 430
rect 928 390 940 424
rect 974 390 1112 424
rect 1146 390 1284 424
rect 1318 390 1456 424
rect 1490 390 1628 424
rect 1662 390 1800 424
rect 1834 390 1972 424
rect 2006 390 2144 424
rect 2178 390 2190 424
rect 928 384 2190 390
rect 858 350 2104 356
rect 858 316 870 350
rect 904 316 1026 350
rect 1060 316 1198 350
rect 1232 316 1370 350
rect 1404 316 1542 350
rect 1576 316 1714 350
rect 1748 316 1886 350
rect 1920 316 2058 350
rect 2092 316 2104 350
rect 858 310 2104 316
rect 0 17 2304 49
rect 0 -17 31 17
rect 65 -17 127 17
rect 161 -17 223 17
rect 257 -17 319 17
rect 353 -17 415 17
rect 449 -17 511 17
rect 545 -17 607 17
rect 641 -17 703 17
rect 737 -17 799 17
rect 833 -17 895 17
rect 929 -17 991 17
rect 1025 -17 1087 17
rect 1121 -17 1183 17
rect 1217 -17 1279 17
rect 1313 -17 1375 17
rect 1409 -17 1471 17
rect 1505 -17 1567 17
rect 1601 -17 1663 17
rect 1697 -17 1759 17
rect 1793 -17 1855 17
rect 1889 -17 1951 17
rect 1985 -17 2047 17
rect 2081 -17 2143 17
rect 2177 -17 2239 17
rect 2273 -17 2304 17
rect 0 -49 2304 -17
<< labels >>
flabel pwell s 0 0 2304 49 0 FreeSans 200 0 0 0 VNB
port 3 nsew ground bidirectional
flabel nwell s 0 617 2304 666 0 FreeSans 200 0 0 0 VPB
port 4 nsew power bidirectional
rlabel comment s 0 0 0 0 4 bufinv_16
flabel metal1 s 928 384 2190 430 0 FreeSans 200 0 0 0 Y
port 6 nsew signal output
flabel metal1 s 0 617 2304 666 0 FreeSans 340 0 0 0 VPWR
port 5 nsew power bidirectional
flabel metal1 s 0 0 2304 49 0 FreeSans 340 0 0 0 VGND
port 2 nsew ground bidirectional
flabel locali s 31 316 65 350 0 FreeSans 340 0 0 0 A
port 1 nsew signal input
flabel locali s 127 316 161 350 0 FreeSans 340 0 0 0 A
port 1 nsew signal input
flabel locali s 223 316 257 350 0 FreeSans 340 0 0 0 A
port 1 nsew signal input
<< properties >>
string LEFsite unit
string LEFclass CORE
string FIXED_BBOX 0 0 2304 666
string GDS_FILE $PDKPATH/libs.ref/sky130_fd_sc_lp/gds/sky130_fd_sc_lp.gds
string LEFsymmetry X Y R90
string GDS_END 1612580
string GDS_START 1593036
<< end >>
